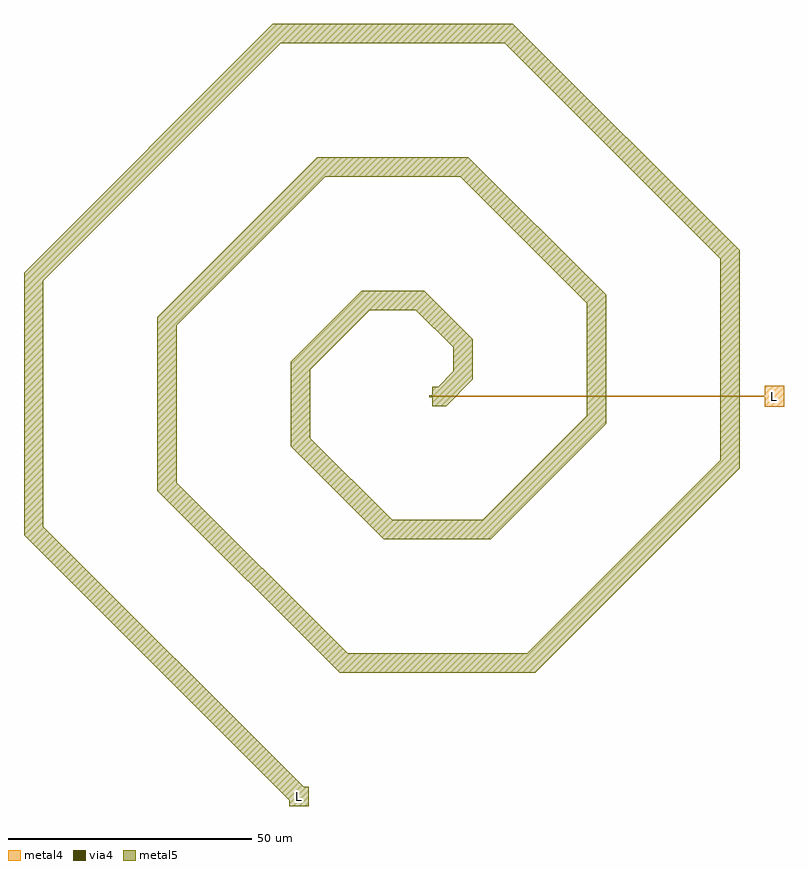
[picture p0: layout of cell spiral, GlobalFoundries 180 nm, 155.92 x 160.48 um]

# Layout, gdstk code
import gdstk
lib = gdstk.Library(unit=1e-6, precision=1e-09)
def R(c, l, rs):  # rectangles x0, y0, x1, y1
    for r in rs: c.add(gdstk.rectangle(r[:2], r[2:], *l))
def P(c, l, *ps):  # polygons
    for p in ps: c.add(gdstk.Polygon(p, *l))
via4 = (41, 0)
metal4 = (46, 0)
metal5 = (81, 0)

spiral = lib.new_cell('spiral')
R(spiral, via4, [(-0.13,-0.13,0.13,0.13)])
R(spiral, metal4, [(68.12,-2.14,72.12,2.14), (-0.26,-0.14,0.26,0.14), (-0.26,-0.14,70.12,0.14)])
R(spiral, metal5, [(-29.36,-84.08,-25.36,-80.08), (-0.64,-0.22,0.64,0.22)])
P(spiral, metal5, [(-28.775,-83.495),(-83.8,-28.47),(-83.8,25.35),(-32.75,76.4),(16.51,76.4),(63,29.91),(63,-14.79),(21.07,-56.72),(-19.07,-56.72),(-56.44,-19.35),(-56.44,16.23),(-23.63,49.04),(7.39,49.04),(35.64,20.79),(35.64,-5.67),(11.95,-29.36),(-9.95,-29.36),(-29.08,-10.23),(-29.08,7.11),(-14.51,21.68),(-1.73,21.68),(8.28,11.67),(8.28,3.45),(2.83,-2),(0,-2),(0,2),(1.17,2),(4.28,5.11),(4.28,10.01),(-3.39,17.68),(-12.85,17.68),(-25.08,5.45),(-25.08,-8.57),(-8.29,-25.36),(10.29,-25.36),(31.64,-4.01),(31.64,19.13),(5.73,45.04),(-21.97,45.04),(-52.44,14.57),(-52.44,-17.69),(-17.41,-52.72),(19.41,-52.72),(59,-13.13),(59,28.25),(14.85,72.4),(-31.09,72.4),(-79.8,23.69),(-79.8,-26.81),(-25.945,-80.665)])
spiral.add(gdstk.Label('L', (-27.36,-82.08), layer=81, texttype=10))
spiral.add(gdstk.Label('L', (70.12,0), layer=46, texttype=10))

lib.write_gds('spiral.gds')
